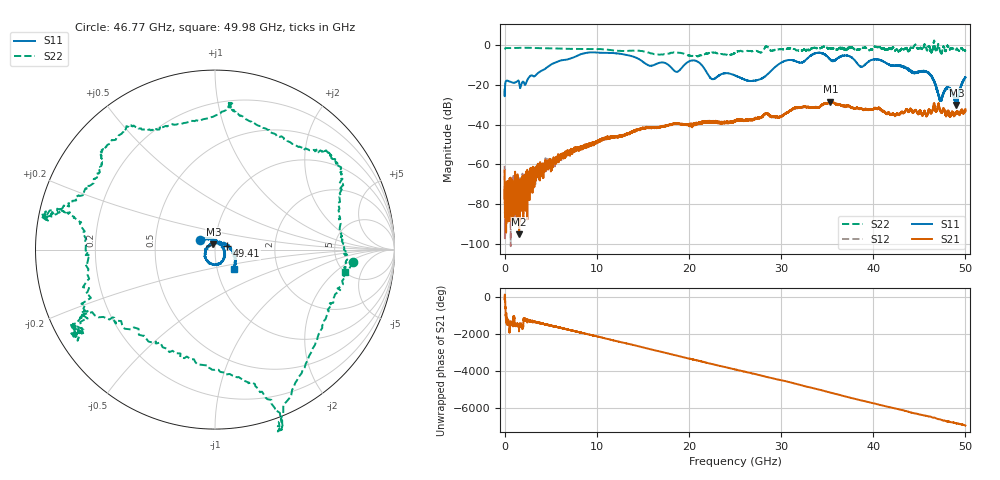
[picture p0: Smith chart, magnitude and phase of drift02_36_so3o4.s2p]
!Created with skrf (http://scikit-rf.org).
# Hz S RI R 50.0
!freq ReS11 ImS11 ReS21 ImS21 ReS12 ImS12 ReS22 ImS22
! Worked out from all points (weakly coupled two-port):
!   10001 points, 300 kHz to 50 GHz, reference 50 ohm
!   highest |S21| = -28.49 dB at 35.35 GHz (marker M1); lowest = -95.4 dB at 1.575 GHz (marker M2)
!   lowest |S11| = -30.2 dB at 49.02 GHz (marker M3), VSWR 1.06, Z = 49 + j2.91 ohm
!   |S11| at or under -10 dB: start of sweep to 4.957 GHz; 21.38 GHz to 29.63 GHz (8.25 GHz wide, 32.3 % of centre); 41.86 GHz to end of sweep (the widest 3 of 7)
!   |S22| runs from -5.7 to 2.4 dB; largest |S21 - S12| = 0.0033
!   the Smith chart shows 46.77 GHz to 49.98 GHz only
!   S11 on the Smith chart (normalised r, x): 46.77 GHz: 0.84, +0.09; 49.41 GHz: 1.15, +0.04; 49.98 GHz: 1.20, -0.26
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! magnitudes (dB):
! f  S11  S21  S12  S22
! 300 kHz  -22.4  -63.1  -60.8  -2.1
! 260.3 MHz  -17.9  -79.8  -71.9  -1.4
! 1.575 GHz  -18.7  -95.4  -93.5  -1.4
! 3.555 GHz  -14.4  -66.2  -63.9  -1.5
! 8.335 GHz  -4.5  -52.0  -51.9  -1.9
! 16.67 GHz  -9.1  -41.5  -41.5  -4.7
! 18.7 GHz  -13.5  -39.6  -39.5  -3.7
! 20.6 GHz  -7.7  -40.1  -40.0  -5.7
! 22.51 GHz  -17.1  -38.6  -38.6  -3.7
! 25 GHz  -15.2  -38.3  -38.2  -3.9
! 27.5 GHz  -17.6  -36.3  -36.4  -3.3
! 33.34 GHz  -4.9  -31.4  -31.3  -1.6
! 35.35 GHz  -7.3  -28.5  -28.7  -1.5
! 41.67 GHz  -9.7  -33.9  -34.2  -1.8
! 45.78 GHz  -13.5  -35.8  -35.6  -1.9
! 46.77 GHz  -20.2  -33.4  -32.8  -2.2
! 47.28 GHz  -27.2  -33.0  -32.9  -3.4
! 48.13 GHz  -21.7  -33.0  -33.3  -0.6
! 49.02 GHz  -30.2  -33.6  -34.0  -2.1
! 49.41 GHz  -22.9  -34.5  -34.3  -2.4
! 49.98 GHz  -16.5  -33.0  -32.9  -2.7
! 50 GHz  -16.3  -32.4  -32.5  -2.7
